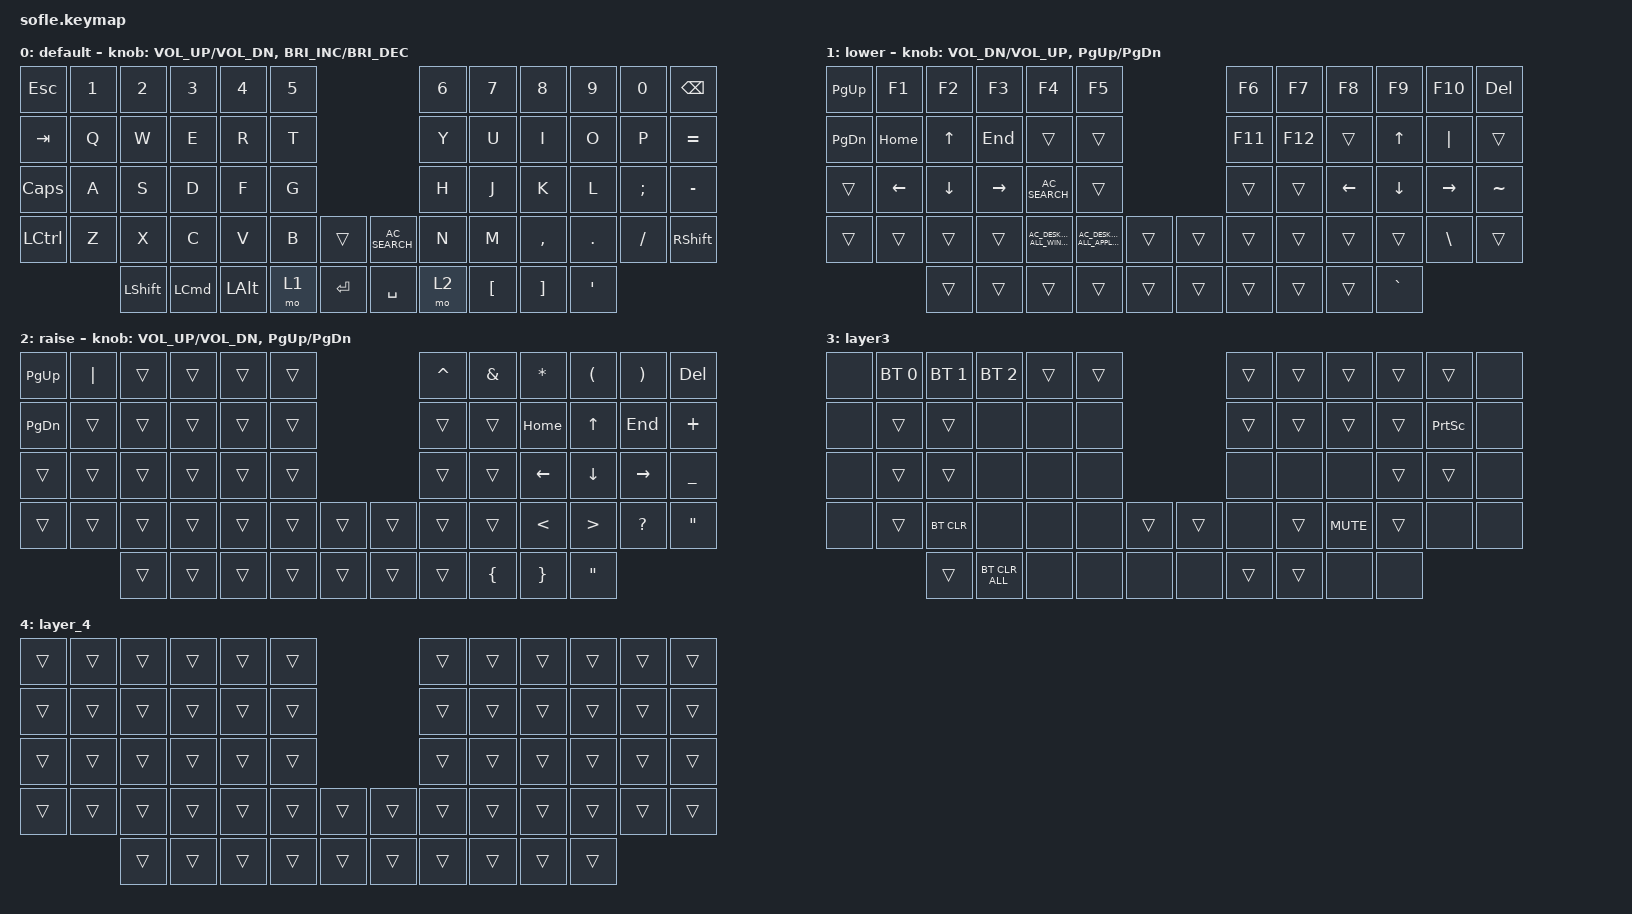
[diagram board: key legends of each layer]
/*
 * Copyright (c) 2020 The ZMK Contributors
 *
 * SPDX-License-Identifier: MIT
 */

#include <behaviors.dtsi>
#include <dt-bindings/zmk/bt.h>
#include <dt-bindings/zmk/keys.h>

#define BASE 0
#define LOWER 1
#define RAISE 2
#define ADJUST 3

/ {
    // Activate ADJUST layer by pressing raise and lower

    conditional_layers {
        compatible = "zmk,conditional-layers";

        layer3 {
            if-layers = <1 2>;
            then-layer = <3>;
        };
    };

    keymap {
        compatible = "zmk,keymap";

        default_layer {
            display-name = "default";

            // ------------------------------------------------------------------------------------------------------------
            // |   `   |  1  |  2  |  3   |  4   |  5   |                   |  6   |  7    |  8    |  9   |   0   |       |
            // |  ESC  |  Q  |  W  |  E   |  R   |  T   |                   |  Y   |  U    |  I    |  O   |   P   | BKSPC |
            // |  TAB  |  A  |  S  |  D   |  F   |  G   |                   |  H   |  J    |  K    |  L   |   ;   |   '   |
            // | SHIFT |  Z  |  X  |  C   |  V   |  B   |  MUTE  |  |       |  N   |  M    |  ,    |  .   |   /   | SHIFT |
            //               | GUI | ALT  | CTRL | LOWER|  ENTER |  | SPACE | RAISE| CTRL  | ALT   | GUI  |

            bindings = <
&kp ESCAPE        &kp N1  &kp N2          &kp N3            &kp N4        &kp N5                                &kp N6  &kp N7            &kp N8             &kp N9          &kp N0    &kp BACKSPACE
&kp TAB           &kp Q   &kp W           &kp E             &kp R         &kp T                                 &kp Y   &kp U             &kp I              &kp O           &kp P     &kp EQUAL
&kp CAPSLOCK      &kp A   &kp S           &kp D             &kp F         &kp G                                 &kp H   &kp J             &kp K              &kp L           &kp SEMI  &kp MINUS
&kp LEFT_CONTROL  &kp Z   &kp X           &kp C             &kp V         &kp B   &trans       &kp C_AC_SEARCH  &kp N   &kp M             &kp COMMA          &kp DOT         &kp FSLH  &kp RIGHT_SHIFT
                          &kp LEFT_SHIFT  &kp LEFT_COMMAND  &kp LEFT_ALT  &mo 1   &kp ENTER    &kp SPACE        &mo 2   &kp LEFT_BRACKET  &kp RIGHT_BRACKET  &kp APOSTROPHE
            >;

            sensor-bindings =
                <&inc_dec_kp C_VOL_UP C_VOL_DN>,
                <&inc_dec_kp C_BRIGHTNESS_INC C_BRIGHTNESS_DEC>;
        };

        lower_layer {
            display-name = "lower";

            // TODO: Some binds are waiting for shifted keycode support.
            // ------------------------------------------------------------------------------------------------------------
            // |       |  F1 |  F2 |  F3  |  F4  |  F5  |                   |  F6  |  F7   |  F8   |  F9  |  F10  |  F11  |
            // |   `   |  1  |  2  |  3   |  4   |  5   |                   |  6   |  7    |  8    |  9   |   0   |  F12  |
            // |       |  !  |  @  |  #   |  $   |  %   |                   |  ^   |  &    |  *    |  (   |   )   |   |   |
            // |       |  =  |  -  |  +   |  {   |  }   |        |  |       |  [   |  ]    |  ;    |  :   |   \   |       |
            //               |     |      |      |      |        |  |       |      |       |       |      |

            bindings = <
&kp PAGE_UP    &kp F1    &kp F2        &kp F3     &kp F4                             &kp F5                                                    &kp F6   &kp F7   &kp F8          &kp F9          &kp F10        &kp DELETE
&kp PAGE_DOWN  &kp HOME  &kp UP_ARROW  &kp END    &trans                             &trans                                                    &kp F11  &kp F12  &trans          &kp UP_ARROW    &kp PIPE       &trans
&trans         &kp LEFT  &kp DOWN      &kp RIGHT  &kp C_AC_SEARCH                    &trans                                                    &trans   &trans   &kp LEFT_ARROW  &kp DOWN_ARROW  &kp RIGHT      &kp TILDE
&trans         &trans    &trans        &trans     &kp C_AC_DESKTOP_SHOW_ALL_WINDOWS  &kp C_AC_DESKTOP_SHOW_ALL_APPLICATIONS  &trans    &trans  &trans   &trans   &trans          &trans          &kp BACKSLASH  &trans
                         &trans        &trans     &trans                             &trans                                  &trans    &trans  &trans   &trans   &trans          &kp GRAVE
            >;

            sensor-bindings =
                <&inc_dec_kp C_VOL_DN C_VOL_UP>,
                <&inc_dec_kp PG_UP PG_DN>;
        };

        raise_layer {
            display-name = "raise";

            // ------------------------------------------------------------------------------------------------------------
            // | BTCLR | BT1  | BT2  |  BT3  |  BT4  |  BT5 |                |      |      |       |      |       |       |
            // |       | INS  | PSCR | GUI   |       |      |                | PGUP |      |   ^   |      |       |       |
            // |       | ALT  | CTRL | SHIFT |       | CAPS |                | PGDN |   <- |   v   |  ->  |  DEL  | BKSPC |
            // |       | UNDO | CUT  | COPY  | PASTE |      |      |  |      |      |      |       |      |       |       |
            //                |      |       |       |      |      |  |      |      |      |       |      |

            bindings = <
&kp PAGE_UP    &kp PIPE  &trans  &trans  &trans  &trans                    &kp CARET  &kp AMPS        &kp ASTERISK     &kp LEFT_PARENTHESIS  &kp RIGHT_PARENTHESIS  &kp DEL
&kp PAGE_DOWN  &trans    &trans  &trans  &trans  &trans                    &trans     &trans          &kp HOME         &kp UP_ARROW          &kp END                &kp PLUS
&trans         &trans    &trans  &trans  &trans  &trans                    &trans     &trans          &kp LEFT         &kp DOWN_ARROW        &kp RIGHT              &kp UNDER
&trans         &trans    &trans  &trans  &trans  &trans  &trans    &trans  &trans     &trans          &kp LESS_THAN    &kp GREATER_THAN      &kp QUESTION           &kp DOUBLE_QUOTES
                         &trans  &trans  &trans  &trans  &trans    &trans  &trans     &kp LEFT_BRACE  &kp RIGHT_BRACE  &kp DOUBLE_QUOTES
            >;

            sensor-bindings = <&inc_dec_kp C_VOL_UP C_VOL_DN &inc_dec_kp PG_UP PG_DN>;
        };

        layer3 {
            // ----------------------------------------------------------------------------------------------------------------------------
            // | BTCLR  |  BT1    |  BT2    |   BT3   |   BT4   |   BT5   |                  |      |      |       |      |       |       |
            // | EXTPWR | RGB_HUD | RGB_HUI | RGB_SAD | RGB_SAI | RGB_EFF |                  |      |      |       |      |       |       |
            // |        | RGB_BRD | RGB_BRI |         |         |         |                  |      |      |       |      |       |       |
            // |        |         |         |         |         |         | RGB_TOG | |      |      |      |       |      |       |       |
            //                    |         |         |         |         |         | |      |      |      |       |      |

            display-name = "layer3";
            bindings = <
&none  &bt BT_SEL 0  &bt BT_SEL 1  &bt BT_SEL 2    &trans  &trans                    &trans  &trans  &trans      &trans  &trans           &none
&none  &trans        &trans        &none           &none   &none                     &trans  &trans  &trans      &trans  &kp PRINTSCREEN  &none
&none  &trans        &trans        &none           &none   &none                     &none   &none   &none       &trans  &trans           &none
&none  &trans        &bt BT_CLR    &none           &none   &none   &trans    &trans  &none   &trans  &kp K_MUTE  &trans  &none            &none
                     &trans        &bt BT_CLR_ALL  &none   &none   &none     &none   &trans  &trans  &none       &none
            >;
        };

        layer_4 {
            bindings = <
&trans  &trans  &trans  &trans  &trans  &trans                    &trans  &trans  &trans  &trans  &trans  &trans
&trans  &trans  &trans  &trans  &trans  &trans                    &trans  &trans  &trans  &trans  &trans  &trans
&trans  &trans  &trans  &trans  &trans  &trans                    &trans  &trans  &trans  &trans  &trans  &trans
&trans  &trans  &trans  &trans  &trans  &trans  &trans    &trans  &trans  &trans  &trans  &trans  &trans  &trans
                &trans  &trans  &trans  &trans  &trans    &trans  &trans  &trans  &trans  &trans
            >;
        };
    };
};
